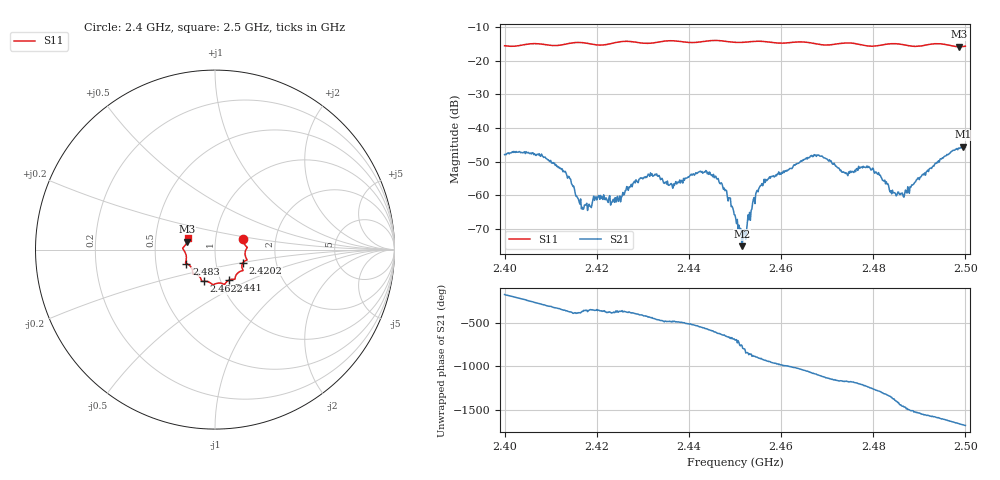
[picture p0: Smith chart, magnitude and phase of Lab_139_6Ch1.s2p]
# Hz S RI R 50
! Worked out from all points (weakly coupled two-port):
!   601 points, 2.4 GHz to 2.5 GHz, reference 50 ohm
!   highest |S21| = -45.57 dB at 2.4995 GHz (marker M1); lowest = -75.2 dB at 2.4515 GHz (marker M2)
!   lowest |S11| = -15.8 dB at 2.4987 GHz (marker M3), VSWR 1.39, Z = 36.4 + j3.3 ohm
!   |S11| at or under -10 dB: start of sweep to end of sweep
!   S12 and S22 are empty: the file has one direction only
!   S11 on the Smith chart (normalised r, x): 2.4 GHz: 1.36, +0.17; 2.4202 GHz: 1.35, -0.20; 2.441 GHz: 1.09, -0.39; 2.4622 GHz: 0.83, -0.30; 2.483 GHz: 0.72, -0.12; 2.5 GHz: 0.73, +0.09
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2.4e9  0.1562 0.0604  -0.004 -0.000402  0 0  0 0
2.4085e9  0.1756 0.00522  0.00142 0.00336  0 0  0 0
2.413667e9  0.1732 -0.0468  0.00178 -0.000169  0 0  0 0
2.416667e9  0.1777 -0.0582  0.000607 -0.000154  0 0  0 0
2.420167e9  0.1564 -0.0719  0.000904 2.06e-05  0 0  0 0
2.433333e9  0.1131 -0.1523  -0.000515 -0.00183  0 0  0 0
2.436e9  0.1108 -0.1653  -0.000873 -0.00118  0 0  0 0
2.441e9  0.0768 -0.1706  -0.00199 -0.000618  0 0  0 0
2.445833e9  0.0521 -0.194  -0.000738 0.00177  0 0  0 0
2.45e9  0.0267 -0.1862  0.00047 0.000191  0 0  0 0
2.4515e9  0.012 -0.1877  0.000137 -0.000107  0 0  0 0
2.455833e9  -0.0132 -0.1944  -0.00142 0.00043  0 0  0 0
2.462167e9  -0.063 -0.1766  0.000574 0.00243  0 0  0 0
2.466667e9  -0.0768 -0.1671  0.00388 0.000407  0 0  0 0
2.474e9  -0.1242 -0.1362  -1.46e-05 -0.0021  0 0  0 0
2.478833e9  -0.1291 -0.105  -0.00237 -0.00102  0 0  0 0
2.483e9  -0.1593 -0.0781  -0.000539 0.00136  0 0  0 0
2.483333e9  -0.1608 -0.0774  -0.000342 0.00134  0 0  0 0
2.486833e9  -0.1609 -0.0609  0.000942 -0.000487  0 0  0 0
2.498667e9  -0.1556 0.0442  -0.00373 0.00326  0 0  0 0
2.4995e9  -0.1532 0.0557  -0.00314 0.00423  0 0  0 0
2.5e9  -0.1527 0.0625  -0.00268 0.00447  0 0  0 0
